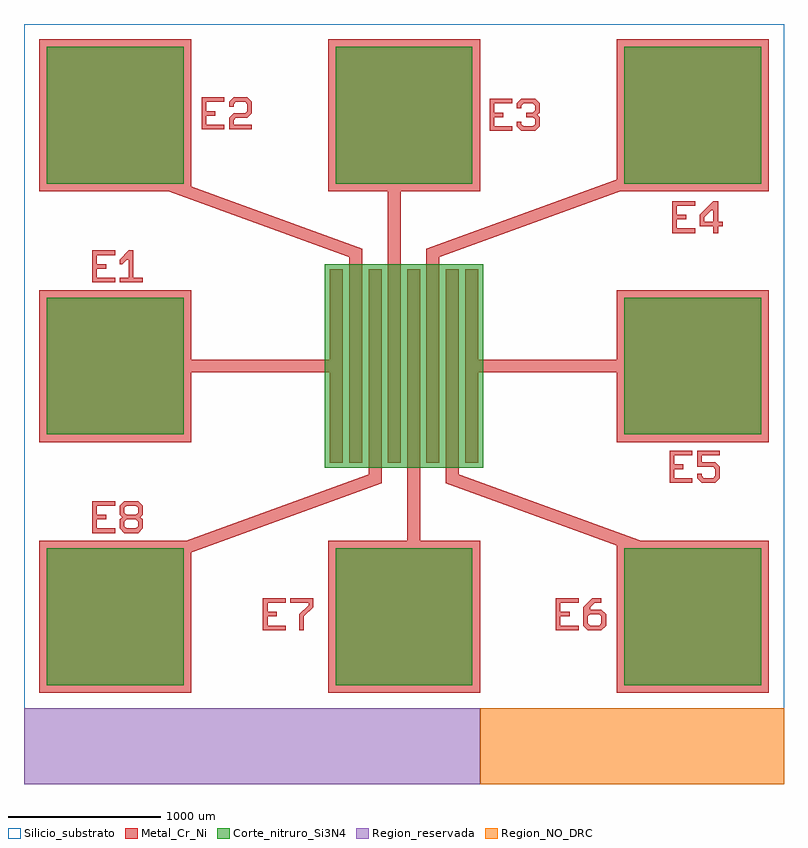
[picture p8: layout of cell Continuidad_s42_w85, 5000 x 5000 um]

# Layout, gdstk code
import gdstk
lib = gdstk.Library(unit=1e-6, precision=1e-06)
def R(c, l, rs):  # rectangles x0, y0, x1, y1
    for r in rs: c.add(gdstk.rectangle(r[:2], r[2:], *l))
def A(c, l, x, y, w, h, nx, ny, dx, dy):  # array of equal rectangles
    R(c, l, [(x+i*dx, y+j*dy, x+i*dx+w, y+j*dy+h) for i in range(nx) for j in range(ny)])
def P(c, l, *ps):  # polygons
    for p in ps: c.add(gdstk.Polygon(p, *l))
Silicio_substrato = (1, 1)
Region_reservada = (1, 2)
Region_NO_DRC = (1, 3)
Metal_Cr_Ni = (2, 0)
Corte_nitruro_Si3N4 = (3, 0)

chip_plantilla5x5mm_1 = lib.new_cell('Chip_Plantilla5x5mm$1')
R(chip_plantilla5x5mm_1, Silicio_substrato, [(0,0,5000,5000)])
R(chip_plantilla5x5mm_1, Region_reservada, [(0,0,3000,500)])
R(chip_plantilla5x5mm_1, Region_NO_DRC, [(3000,0,5000,500)])

text_4 = lib.new_cell('TEXT$4')
P(text_4, Metal_Cr_Ni, [(0,0),(0,210),(150,210),(150,180),(30,180),(30,120),(90,120),(90,90),(30,90),(30,30),(150,30),(150,0)],
  [(180,0),(180,30),(240,30),(240,150),(225,150),(195,120),(180,120),(180,150),(240,210),(270,210),(270,30),(330,30),(330,0)])

text_5 = lib.new_cell('TEXT$5')
P(text_5, Metal_Cr_Ni, [(0,0),(0,210),(150,210),(150,180),(30,180),(30,120),(90,120),(90,90),(30,90),(30,30),(150,30),(150,0)],
  [(180,0),(180,75),(210,105),(285,105),(300,120),(300,165),(285,180),(225,180),(210,165),(210,150),(180,150),(180,180),(210,210),(300,210),(330,180),(330,105),(300,75),(225,75),(210,60),(210,30),(330,30),(330,0)])

text_6 = lib.new_cell('TEXT$6')
P(text_6, Metal_Cr_Ni, [(0,0),(0,210),(150,210),(150,180),(30,180),(30,120),(90,120),(90,90),(30,90),(30,30),(150,30),(150,0)],
  [(210,0),(180,30),(180,60),(210,60),(210,45),(225,30),(285,30),(300,45),(300,75),(285,90),(240,90),(240,120),(285,120),(300,135),(300,165),(285,180),(225,180),(210,165),(210,150),(180,150),(180,180),(210,210),(300,210),(330,180),(330,120),(315,105),(330,90),(330,30),(300,0)])

text_7 = lib.new_cell('TEXT$7')
P(text_7, Metal_Cr_Ni, [(0,0),(0,210),(150,210),(150,180),(30,180),(30,120),(90,120),(90,90),(30,90),(30,30),(150,30),(150,0)],
  [(270,0),(270,45),(180,45),(180,75),(270,75),(270,150),(255,150),(210,105),(210,75),(180,75),(180,120),(270,210),(300,210),(300,75),(330,75),(330,45),(300,45),(300,0)])

text_9 = lib.new_cell('TEXT$9')
P(text_9, Metal_Cr_Ni, [(0,0),(0,210),(150,210),(150,180),(30,180),(30,120),(90,120),(90,90),(30,90),(30,30),(150,30),(150,0)],
  [(210,0),(180,30),(180,150),(240,210),(300,210),(300,180),(255,180),(225,150),(225,135),(300,135),(330,105),(225,105),(210,90),(210,45),(225,30),(285,30),(300,45),(300,90),(285,105),(330,105),(330,30),(300,0)])

text_10 = lib.new_cell('TEXT$10')
P(text_10, Metal_Cr_Ni, [(0,0),(0,210),(150,210),(150,180),(30,180),(30,120),(90,120),(90,90),(30,90),(30,30),(150,30),(150,0)],
  [(240,0),(240,105),(300,165),(300,180),(180,180),(180,210),(330,210),(330,150),(270,90),(270,0)])

text_11 = lib.new_cell('TEXT$11')
P(text_11, Metal_Cr_Ni, [(0,0),(0,210),(150,210),(150,180),(30,180),(30,120),(90,120),(90,90),(30,90),(30,30),(150,30),(150,0)],
  [(210,0),(180,30),(180,90),(195,105),(180,120),(180,180),(210,210),(300,210),(330,180),(225,180),(210,165),(210,135),(225,120),(285,120),(300,135),(300,165),(285,180),(330,180),(330,120),(315,105),(330,90),(225,90),(210,75),(210,45),(225,30),(285,30),(300,45),(300,75),(285,90),(330,90),(330,30),(300,0)])

text_8 = lib.new_cell('TEXT$8')
P(text_8, Metal_Cr_Ni, [(0,0),(0,210),(150,210),(150,180),(30,180),(30,120),(90,120),(90,90),(30,90),(30,30),(150,30),(150,0)],
  [(210,0),(180,30),(180,60),(210,60),(210,45),(225,30),(285,30),(300,45),(300,90),(285,105),(180,105),(180,210),(330,210),(330,180),(210,180),(210,135),(300,135),(330,105),(330,30),(300,0)])

continuidad_s42_w85 = lib.new_cell('Continuidad_s42_w85')
A(continuidad_s42_w85, Metal_Cr_Ni, 100, 600, 1000, 1000, 3, 2, 1900, 3300)
A(continuidad_s42_w85, Metal_Cr_Ni, 2013, 2113, 85, 1275, 8, 1, 127, 0)
R(continuidad_s42_w85, Metal_Cr_Ni, [(2521,1536,2606,2113), (2267,1978,2352,2113), (2775,1978,2860,2113), (2140,3388,2225,3523), (2394,3388,2479,3965), (2648,3388,2733,3523), (1015,3900,1100,3985)])
P(continuidad_s42_w85, Metal_Cr_Ni, [(100,2250),(100,3250),(1100,3250),(1100,2792),(2040,2792),(2040,2708),(1100,2708),(1100,2250)],
  [(3900,2250),(3900,2708),(2960,2708),(2960,2792),(3900,2792),(3900,3250),(4900,3250),(4900,2250)],
  [(2196,3445),(317,4129),(346,4207),(2225,3523)],
  [(2677,3445),(2648,3523),(4527,4207),(4556,4129)],
  [(4654,1294),(2775,1978),(2804,2056),(4683,1372)],
  [(473,1294),(444,1372),(2323,2056),(2352,1978)])
A(continuidad_s42_w85, Corte_nitruro_Si3N4, 150, 650, 900, 900, 3, 2, 1900, 3300)
R(continuidad_s42_w85, Corte_nitruro_Si3N4, [(1980,2080,3020,3420), (150,2300,1050,3200), (3950,2300,4850,3200)])
continuidad_s42_w85.add(gdstk.Reference(chip_plantilla5x5mm_1, (0,0)))
continuidad_s42_w85.add(gdstk.Reference(text_4, (450,3300)))
continuidad_s42_w85.add(gdstk.Reference(text_5, (1169,4307)))
continuidad_s42_w85.add(gdstk.Reference(text_6, (3063,4297)))
continuidad_s42_w85.add(gdstk.Reference(text_7, (4266,3625)))
continuidad_s42_w85.add(gdstk.Reference(text_9, (3499,1012)))
continuidad_s42_w85.add(gdstk.Reference(text_10, (1572,1012)))
continuidad_s42_w85.add(gdstk.Reference(text_11, (450,1651)))
continuidad_s42_w85.add(gdstk.Reference(text_8, (4248,1982)))

lib.write_gds('Continuidad_s42_w85.gds')
